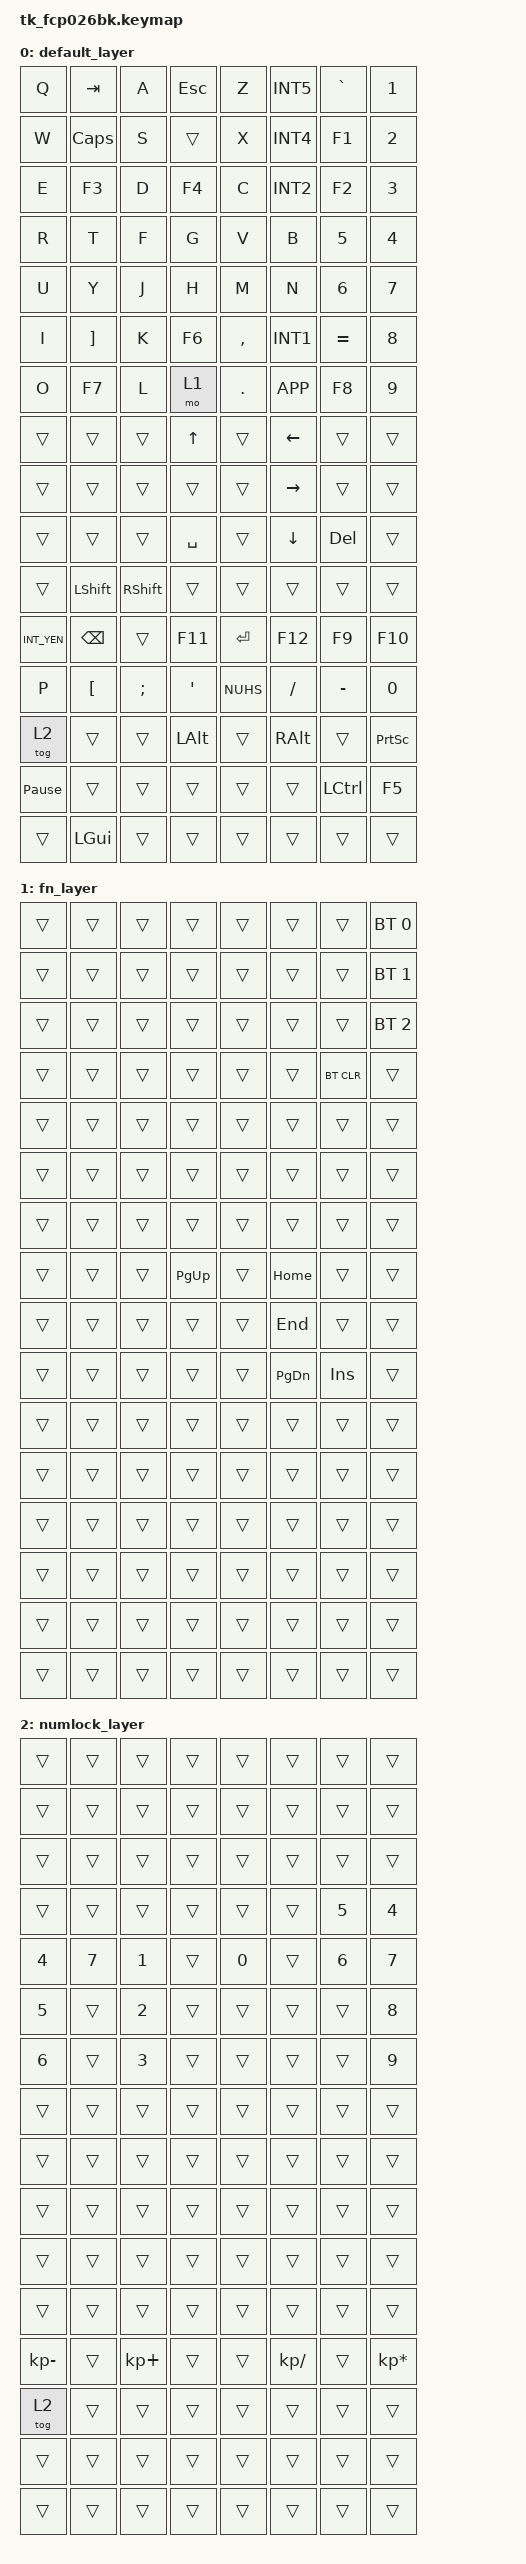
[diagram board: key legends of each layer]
/*
 * TK-FCP026BK Keymap v10
 * 86キー 日本語配列
 * 新配線: Col=XIAO(D0-D3,D7-D10)、Row=MCP23017(GPA0-7,GPB0-7)
 *
 * bindingsの並び順: Row行優先 16行×8列=128エントリ
 *
 * レイヤー構成:
 *   Layer 0: default_layer  … 通常入力
 *   Layer 1: fn_layer       … FNキー押しっぱなし中
 *   Layer 2: numlock_layer  … NumLockキーでトグル（テンキー的数字入力）
 *
 * v10変更点:
 *   - num_togマクロを廃止、NumLockキーを &tog 2 に戻す
 *   - numlock_layerの数字を KP_Nx → Nx に変更
 *     KP_Nxはテンキー専用コードでOSのNumLock状態に依存するが、
 *     このキーボードでは「常に数字を入力する」が目的のため
 *     通常の数字キーコード(N0〜N9)を使う方が正しい
 *   - 記号（KP_SLASH / KP_PLUS / KP_MINUS / KP_MULTIPLY）は
 *     テンキー記号として残す（NumLock非依存のため問題なし）
 */

#include <behaviors.dtsi>
#include <dt-bindings/zmk/keys.h>
#include <dt-bindings/zmk/bt.h>

/ {
    keymap {
        compatible = "zmk,keymap";

        default_layer {
            bindings = <
/* Col:           D0                D1                D2                D3                D7                D8                D9                D10           */
/* Row0  GPA0 */ &kp Q             &kp TAB           &kp A             &kp ESC           &kp Z             &kp INT5          &kp GRAVE         &kp N1
/* Row1  GPA1 */ &kp W             &kp CAPS          &kp S             &trans            &kp X             &kp INT4          &kp F1            &kp N2
/* Row2  GPA2 */ &kp E             &kp F3            &kp D             &kp F4            &kp C             &kp INT2          &kp F2            &kp N3
/* Row3  GPA3 */ &kp R             &kp T             &kp F             &kp G             &kp V             &kp B             &kp N5            &kp N4
/* Row4  GPA4 */ &kp U             &kp Y             &kp J             &kp H             &kp M             &kp N             &kp N6            &kp N7
/* Row5  GPA5 */ &kp I             &kp RBKT          &kp K             &kp F6            &kp COMMA         &kp INT1          &kp EQUAL         &kp N8
/* Row6  GPA6 */ &kp O             &kp F7            &kp L             &mo 1             &kp DOT           &kp K_APP         &kp F8            &kp N9
/* Row7  GPA7 */ &trans            &trans            &trans            &kp UP            &trans            &kp LEFT          &trans            &trans
/* Row8  GPB0 */ &trans            &trans            &trans            &trans            &trans            &kp RIGHT         &trans            &trans
/* Row9  GPB1 */ &trans            &trans            &trans            &kp SPACE         &trans            &kp DOWN          &kp DEL           &trans
/* Row10 GPB2 */ &trans            &kp LSHFT         &kp RSHFT         &trans            &trans            &trans            &trans            &trans
/* Row11 GPB3 */ &kp INT_YEN       &kp BSPC          &trans            &kp F11           &kp RET           &kp F12           &kp F9            &kp F10
/* Row12 GPB4 */ &kp P             &kp LBKT          &kp SEMI          &kp QUOT          &kp NUHS          &kp FSLH          &kp MINUS         &kp N0
/* Row13 GPB5 */ &tog 2            &trans            &trans            &kp LALT          &trans            &kp RALT          &trans            &kp PSCRN
/* Row14 GPB6 */ &kp PAUSE_BREAK   &trans            &trans            &trans            &trans            &trans            &kp LCTRL         &kp F5
/* Row15 GPB7 */ &trans            &kp LGUI          &trans            &trans            &trans            &trans            &trans            &trans
            >;
        };

        fn_layer {
            bindings = <
/* Col:           D0                D1                D2                D3                D7                D8                D9                D10           */
/* Row0  GPA0 */ &trans            &trans            &trans            &trans            &trans            &trans            &trans            &bt BT_SEL 0
/* Row1  GPA1 */ &trans            &trans            &trans            &trans            &trans            &trans            &trans            &bt BT_SEL 1
/* Row2  GPA2 */ &trans            &trans            &trans            &trans            &trans            &trans            &trans            &bt BT_SEL 2
/* Row3  GPA3 */ &trans            &trans            &trans            &trans            &trans            &trans            &bt BT_CLR        &trans
/* Row4  GPA4 */ &trans            &trans            &trans            &trans            &trans            &trans            &trans            &trans
/* Row5  GPA5 */ &trans            &trans            &trans            &trans            &trans            &trans            &trans            &trans
/* Row6  GPA6 */ &trans            &trans            &trans            &trans            &trans            &trans            &trans            &trans
/* Row7  GPA7 */ &trans            &trans            &trans            &kp PG_UP         &trans            &kp HOME          &trans            &trans
/* Row8  GPB0 */ &trans            &trans            &trans            &trans            &trans            &kp END           &trans            &trans
/* Row9  GPB1 */ &trans            &trans            &trans            &trans            &trans            &kp PG_DN         &kp INS           &trans
/* Row10 GPB2 */ &trans            &trans            &trans            &trans            &trans            &trans            &trans            &trans
/* Row11 GPB3 */ &trans            &trans            &trans            &trans            &trans            &trans            &trans            &trans
/* Row12 GPB4 */ &trans            &trans            &trans            &trans            &trans            &trans            &trans            &trans
/* Row13 GPB5 */ &trans            &trans            &trans            &trans            &trans            &trans            &trans            &trans
/* Row14 GPB6 */ &trans            &trans            &trans            &trans            &trans            &trans            &trans            &trans
/* Row15 GPB7 */ &trans            &trans            &trans            &trans            &trans            &trans            &trans            &trans
            >;
        };

        numlock_layer {
            bindings = <
/* Col:           D0                D1                D2                D3                D7                D8                D9                D10           */
/* Row0  GPA0 */ &trans            &trans            &trans            &trans            &trans            &trans            &trans            &trans
/* Row1  GPA1 */ &trans            &trans            &trans            &trans            &trans            &trans            &trans            &trans
/* Row2  GPA2 */ &trans            &trans            &trans            &trans            &trans            &trans            &trans            &trans
/* Row3  GPA3 */ &trans            &trans            &trans            &trans            &trans            &trans            &kp N5            &kp N4            /* 5→5  4→4 */
/* Row4  GPA4 */ &kp N4            &kp N7            &kp N1            &trans            &kp N0            &trans            &kp N6            &kp N7            /* u→4  y→7  j→1  m→0  6→6  7→7 */
/* Row5  GPA5 */ &kp N5            &trans            &kp N2            &trans            &trans            &trans            &trans            &kp N8            /* i→5  k→2  8→8 */
/* Row6  GPA6 */ &kp N6            &trans            &kp N3            &trans            &trans            &trans            &trans            &kp N9            /* o→6  l→3  9→9 */
/* Row7  GPA7 */ &trans            &trans            &trans            &trans            &trans            &trans            &trans            &trans
/* Row8  GPB0 */ &trans            &trans            &trans            &trans            &trans            &trans            &trans            &trans
/* Row9  GPB1 */ &trans            &trans            &trans            &trans            &trans            &trans            &trans            &trans
/* Row10 GPB2 */ &trans            &trans            &trans            &trans            &trans            &trans            &trans            &trans
/* Row11 GPB3 */ &trans            &trans            &trans            &trans            &trans            &trans            &trans            &trans
/* Row12 GPB4 */ &kp KP_MINUS      &trans            &kp KP_PLUS       &trans            &trans            &kp KP_SLASH      &trans            &kp KP_MULTIPLY   /* p→KP-  ;→KP+  /→KP/  0→KP* */
/* Row13 GPB5 */ &tog 2            &trans            &trans            &trans            &trans            &trans            &trans            &trans            /* numlock再押し=解除 */
/* Row14 GPB6 */ &trans            &trans            &trans            &trans            &trans            &trans            &trans            &trans
/* Row15 GPB7 */ &trans            &trans            &trans            &trans            &trans            &trans            &trans            &trans
            >;
        };
    };
};
